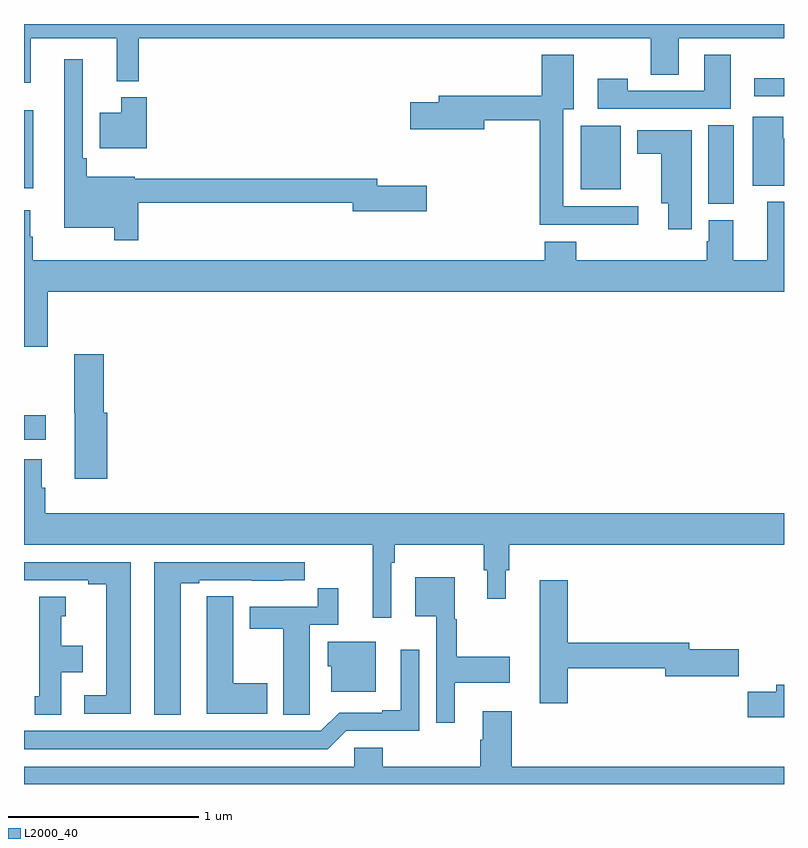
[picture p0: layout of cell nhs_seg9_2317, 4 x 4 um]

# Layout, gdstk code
import gdstk
lib = gdstk.Library(unit=1e-6, precision=1e-09)
def R(c, l, rs):  # rectangles x0, y0, x1, y1
    for r in rs: c.add(gdstk.rectangle(r[:2], r[2:], *l))
def P(c, l, *ps):  # polygons
    for p in ps: c.add(gdstk.Polygon(p, *l))
L2000_40 = (2000, 40)

nhs_seg9_2317 = lib.new_cell('nhs_seg9_2317')
R(nhs_seg9_2317, L2000_40, [(243,1190.312,243.115,1190.442), (246.602,1191.553,246.736,1191.968), (245.93,1191.629,246.142,1191.964), (243,1191.635,243.049,1192.045), (246.843,1192.119,247,1192.215)])
P(nhs_seg9_2317, L2000_40, [(243.035,1192.424),(243.488,1192.424),(243.488,1192.199),(243.605,1192.199),(243.605,1192.424),(246.298,1192.424),(246.298,1192.234),(246.445,1192.234),(246.445,1192.424),(247,1192.424),(247,1192.5),(243,1192.5),(243,1192.191),(243.035,1192.191)],
  [(246.232,1191.54),(245.839,1191.54),(245.839,1192.052),(245.893,1192.052),(245.893,1192.339),(245.726,1192.339),(245.726,1192.123),(245.183,1192.123),(245.183,1192.089),(245.034,1192.089),(245.034,1191.947),(245.422,1191.947),(245.422,1191.994),(245.714,1191.994),(245.714,1191.443),(246.232,1191.443)],
  [(246.721,1192.339),(246.581,1192.339),(246.581,1192.149),(246.177,1192.149),(246.177,1192.213),(246.021,1192.213),(246.021,1192.053),(246.721,1192.053)],
  [(243.602,1191.558),(244.73,1191.558),(244.73,1191.515),(245.119,1191.515),(245.119,1191.65),(244.858,1191.65),(244.858,1191.686),(243.583,1191.686),(243.583,1191.697),(243.329,1191.697),(243.329,1191.793),(243.309,1191.793),(243.309,1192.315),(243.212,1192.315),(243.212,1191.428),(243.474,1191.428),(243.474,1191.363),(243.602,1191.363)],
  [(243.647,1192.114),(243.512,1192.114),(243.512,1192.033),(243.398,1192.033),(243.398,1191.845),(243.647,1191.845)],
  [(247,1191.898),(246.997,1191.898),(246.997,1192.012),(246.836,1192.012),(246.836,1191.65),(247,1191.65)],
  [(246.514,1191.94),(246.227,1191.94),(246.227,1191.818),(246.353,1191.818),(246.353,1191.557),(246.392,1191.557),(246.392,1191.42),(246.514,1191.42)],
  [(243.125,1191.092),(247,1191.092),(247,1191.565),(246.911,1191.565),(246.911,1191.256),(246.733,1191.256),(246.733,1191.468),(246.605,1191.468),(246.605,1191.357),(246.593,1191.357),(246.593,1191.256),(245.906,1191.256),(245.906,1191.355),(245.741,1191.355),(245.741,1191.256),(243.046,1191.256),(243.046,1191.38),(243.034,1191.38),(243.034,1191.52),(243,1191.52),(243,1190.802),(243.125,1190.802)],
  [(243.437,1190.454),(243.419,1190.454),(243.419,1190.761),(243.265,1190.761),(243.265,1190.454),(243.266,1190.454),(243.266,1190.106),(243.437,1190.106)],
  [(244.932,1189.664),(244.952,1189.664),(244.952,1189.76),(245.419,1189.76),(245.419,1189.626),(245.438,1189.626),(245.438,1189.476),(245.536,1189.476),(245.536,1189.626),(245.555,1189.626),(245.555,1189.76),(247,1189.76),(247,1189.924),(243.113,1189.924),(243.113,1190.058),(243.094,1190.058),(243.094,1190.209),(243,1190.209),(243,1189.76),(244.835,1189.76),(244.835,1189.374),(244.932,1189.374)],
  [(243.562,1189.668),(243,1189.668),(243,1189.572),(243.338,1189.572),(243.338,1189.552),(243.434,1189.552),(243.434,1188.966),(243.318,1188.966),(243.318,1188.87),(243.562,1188.87)],
  [(243.826,1189.557),(243.922,1189.557),(243.922,1189.572),(244.198,1189.572),(244.198,1189.571),(244.364,1189.571),(244.364,1189.572),(244.477,1189.572),(244.477,1189.668),(243.686,1189.668),(243.686,1188.865),(243.826,1188.865)],
  [(245.266,1189.034),(245.557,1189.034),(245.557,1189.169),(245.278,1189.169),(245.278,1189.368),(245.266,1189.368),(245.266,1189.588),(245.06,1189.588),(245.06,1189.382),(245.169,1189.382),(245.169,1188.822),(245.266,1188.822)],
  [(245.861,1189.108),(246.374,1189.108),(246.374,1189.066),(246.763,1189.066),(246.763,1189.208),(246.502,1189.208),(246.502,1189.244),(245.861,1189.244),(245.861,1189.573),(245.714,1189.573),(245.714,1188.924),(245.861,1188.924)],
  [(244.503,1188.976),(244.504,1188.976),(244.504,1189.338),(244.655,1189.338),(244.655,1189.531),(244.546,1189.531),(244.546,1189.434),(244.187,1189.434),(244.187,1189.318),(244.364,1189.318),(244.364,1188.865),(244.503,1188.865)],
  [(244.279,1189.029),(244.102,1189.029),(244.102,1189.487),(243.963,1189.487),(243.963,1189.379),(243.962,1189.379),(243.962,1188.869),(244.279,1188.869)],
  [(243.196,1189.088),(243.31,1189.088),(243.31,1189.228),(243.196,1189.228),(243.196,1189.383),(243.22,1189.383),(243.22,1189.486),(243.08,1189.486),(243.08,1188.963),(243.056,1188.963),(243.056,1188.865),(243.196,1188.865)],
  [(244.852,1189.249),(244.598,1189.249),(244.598,1189.119),(244.616,1189.119),(244.616,1188.986),(244.852,1188.986)],
  [(244.695,1188.78),(245.079,1188.78),(245.079,1189.207),(244.982,1189.207),(244.982,1188.889),(244.886,1188.889),(244.886,1188.876),(244.659,1188.876),(244.563,1188.78),(243,1188.78),(243,1188.684),(244.599,1188.684)],
  [(247,1189.022),(246.959,1189.022),(246.959,1188.986),(246.81,1188.986),(246.81,1188.851),(247,1188.851)],
  [(245.567,1188.883),(245.414,1188.883),(245.414,1188.734),(245.402,1188.734),(245.402,1188.592),(244.889,1188.592),(244.889,1188.69),(244.737,1188.69),(244.737,1188.592),(243,1188.592),(243,1188.5),(247,1188.5),(247,1188.592),(245.567,1188.592)])

lib.write_gds('nhs_seg9_2317.gds')
